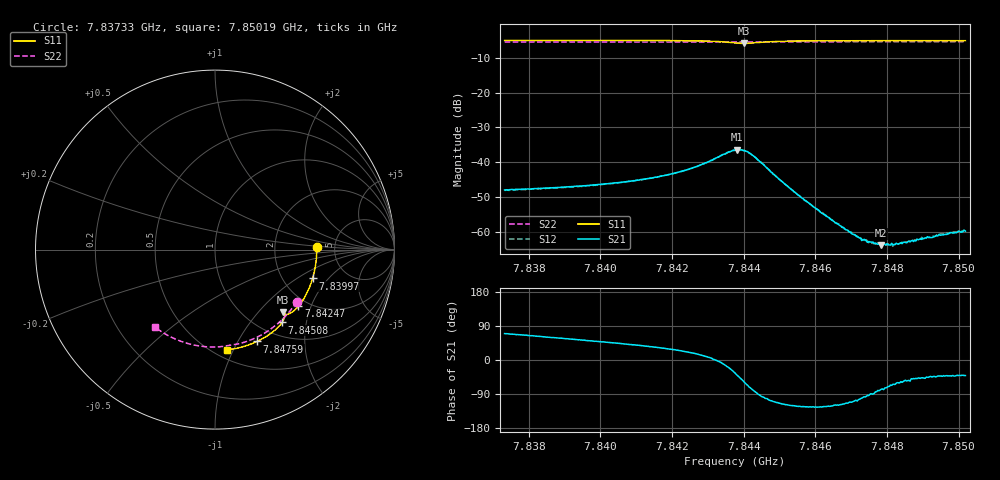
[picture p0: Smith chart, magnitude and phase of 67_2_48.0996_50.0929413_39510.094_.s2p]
#  HZ  S  RI  R  50.00
! Rohde & Schwarz Vector Network Analyzer
! Rohde-Schwarz,ZNB20-2Port,1311601062101988,3.16
! Created: UTC 12/23/2023, 3:41:22 AM
! freq[Hz]  re:S11  im:S11  re:S21  im:S21  re:S12  im:S12  re:S22  im:S22
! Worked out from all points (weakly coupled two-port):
!   401 points, 7.83733 GHz to 7.85019 GHz, reference 50 ohm
!   highest |S21| = -36.41 dB at 7.84382 GHz (marker M1); lowest = -63.9 dB at 7.84784 GHz (marker M2)
!   lowest |S11| = -5.8 dB at 7.84402 GHz (marker M3), VSWR 3.12, Z = 72.2 - j68.7 ohm
!   |S11| at or under -10 dB: nowhere
!   |S22| runs from -5.4 to -5.3 dB; largest |S21 - S12| = 0.00033
!   S11 on the Smith chart (normalised r, x): 7.83733 GHz: 3.61, +0.14; 7.83997 GHz: 2.90, -1.37; 7.84247 GHz: 1.77, -1.64; 7.84508 GHz: 1.25, -1.46; 7.84759 GHz: 0.81, -1.21; 7.85019 GHz: 0.58, -0.95
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7.837329e9  0.5662 0.0132  0.00138 0.00373  0.00137 0.00367  0.4552 -0.29
7.839484e9  0.552 -0.1294  0.00275 0.00361  0.00273 0.00353  0.358 -0.4051
7.839966e9  0.5437 -0.1608  0.00316 0.00358  0.0031 0.00354  0.3319 -0.4268
7.841638e9  0.4992 -0.2662  0.00521 0.00335  0.00519 0.00335  0.2327 -0.4888
7.842474e9  0.4649 -0.316  0.00745 0.00278  0.00739 0.0028  0.1783 -0.5113
7.843278e9  0.4162 -0.3563  0.0118 -0.000469  0.0117 -0.000545  0.1235 -0.5262
7.84376e9  0.3814 -0.3571  0.0123 -0.00831  0.0124 -0.00824  0.0913 -0.5313
7.843824e9  0.3791 -0.3549  0.0115 -0.00983  0.0117 -0.00957  0.0873 -0.532
7.844017e9  0.3782 -0.3493  0.00778 -0.0124  0.00782 -0.0125  0.0752 -0.5339
7.844307e9  0.3866 -0.3546  0.00141 -0.0118  0.0015 -0.0118  0.0566 -0.5373
7.845078e9  0.3739 -0.4061  -0.0023 -0.00471  -0.00224 -0.00472  0.00282 -0.5429
7.845914e9  0.3324 -0.4505  -0.0013 -0.00196  -0.0013 -0.00196  -0.0563 -0.5407
7.84675e9  0.2851 -0.4843  -0.000524 -0.00102  -0.000533 -0.00103  -0.1145 -0.5322
7.847008e9  0.27 -0.4933  -0.000346 -0.000876  -0.000356 -0.000918  -0.132 -0.5281
7.847265e9  0.2547 -0.5018  -0.000175 -0.000785  -0.000193 -0.000794  -0.1497 -0.5236
7.847586e9  0.2352 -0.5115  3.09e-06 -0.000706  2.88e-06 -0.000676  -0.1713 -0.517
7.847651e9  0.2313 -0.5132  2.88e-05 -0.000672  4.05e-05 -0.000664  -0.1755 -0.5159
7.847844e9  0.2193 -0.5186  0.000145 -0.000621  0.000151 -0.000652  -0.1882 -0.5114
7.848069e9  0.2053 -0.5243  0.000222 -0.000603  0.000238 -0.000619  -0.2032 -0.5059
7.848229e9  0.1953 -0.528  0.000282 -0.000587  0.0003 -0.000585  -0.2136 -0.5014
7.849548e9  0.1106 -0.5518  0.000655 -0.000612  0.000683 -0.000627  -0.2955 -0.459
7.850191e9  0.0683 -0.5584  0.000765 -0.000666  0.000771 -0.000683  -0.3326 -0.4334
